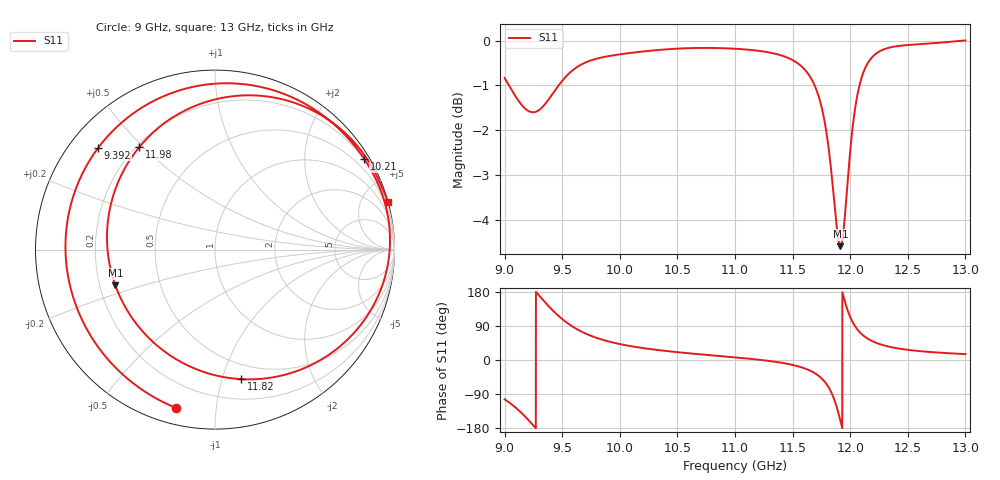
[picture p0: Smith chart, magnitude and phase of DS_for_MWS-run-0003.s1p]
! TOUCHSTONE file generated by CST DESIGN STUDIO
! Date and time: Tue Feb  4 14:26:44 2025
! Project name: C:\Work\MatlabApps\UnitCellOptimizationMatlab\CST\unitcell.cst
! Tree item: Tasks\Sweep1\SPara1\S-Parameters
! Header version: 2024
! Port assignment regex: !\s*Touchstone port\s*([0-9]+)\s*=\s*(CST MWS port|CST DES external port|CST DES block port)\s*(.+)\s* \(\"(.*)\"\)(\s*mode\s*([0-9]+))?.*
! Touchstone port assignment:
! Touchstone port 1 = CST DES external port 1 ("")
# GHz S MA R 50
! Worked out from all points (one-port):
!   4001 points, 9 GHz to 13 GHz, reference 50 ohm
!   lowest |S11| = -4.6 dB at 11.91 GHz (marker M1), VSWR 3.88, Z = 13.3 - j8.09 ohm
!   |S11| at or under -10 dB: nowhere
!   S11 on the Smith chart (normalised r, x): 9 GHz: 0.08, -0.78; 9.392 GHz: 0.08, +0.37; 10.21 GHz: 0.19, +3.57; 11.82 GHz: 0.37, -1.15; 11.98 GHz: 0.21, +0.49; 13 GHz: -0.01, +7.35
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9  0.9086 -103.7
9.116  0.8586 -131.0
9.232  0.8323 -166.6
9.31  0.8388 166.4
9.392  0.8632 138.9
9.5  0.9019 108.0
9.596  0.9278 87.0
9.725  0.948 66.9
10  0.9655 42.0
10.207  0.9728 31.2
10.5  0.9797 20.7
11  0.9794 6.9
11.5  0.9513 -13.0
11.619  0.924 -23.8
11.704  0.8832 -37.0
11.769  0.8237 -53.9
11.825  0.7361 -78.6
11.871  0.6415 -112.5
11.915  0.5898 -160.3
11.947  0.6229 161.8
11.983  0.7096 126.6
12  0.7533 113.5
12.063  0.8705 80.4
12.115  0.9221 64.4
12.175  0.9532 52.3
12.302  0.979 37.8
12.5  0.9888 26.9
13  1.001 15.5
